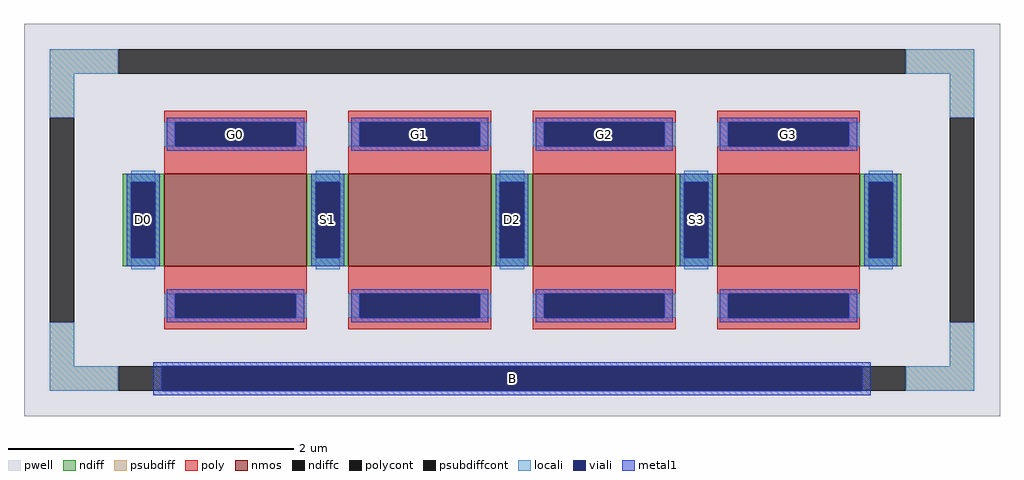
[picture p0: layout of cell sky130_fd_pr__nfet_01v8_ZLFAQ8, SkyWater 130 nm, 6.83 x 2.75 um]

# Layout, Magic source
magic
tech sky130A
magscale 1 2
<< pwell >>
rect -683 -275 683 275
<< nmos >>
rect -487 -65 -287 65
rect -229 -65 -29 65
rect 29 -65 229 65
rect 287 -65 487 65
<< ndiff >>
rect -545 53 -487 65
rect -545 -53 -533 53
rect -499 -53 -487 53
rect -545 -65 -487 -53
rect -287 53 -229 65
rect -287 -53 -275 53
rect -241 -53 -229 53
rect -287 -65 -229 -53
rect -29 53 29 65
rect -29 -53 -17 53
rect 17 -53 29 53
rect -29 -65 29 -53
rect 229 53 287 65
rect 229 -53 241 53
rect 275 -53 287 53
rect 229 -65 287 -53
rect 487 53 545 65
rect 487 -53 499 53
rect 533 -53 545 53
rect 487 -65 545 -53
<< ndiffc >>
rect -533 -53 -499 53
rect -275 -53 -241 53
rect -17 -53 17 53
rect 241 -53 275 53
rect 499 -53 533 53
<< psubdiff >>
rect -647 205 -551 239
rect 551 205 647 239
rect -647 143 -613 205
rect 613 143 647 205
rect -647 -205 -613 -143
rect 613 -205 647 -143
rect -647 -239 -551 -205
rect 551 -239 647 -205
<< psubdiffcont >>
rect -551 205 551 239
rect -647 -143 -613 143
rect 613 -143 647 143
rect -551 -239 551 -205
<< poly >>
rect -487 137 -287 153
rect -487 103 -471 137
rect -303 103 -287 137
rect -487 65 -287 103
rect -229 137 -29 153
rect -229 103 -213 137
rect -45 103 -29 137
rect -229 65 -29 103
rect 29 137 229 153
rect 29 103 45 137
rect 213 103 229 137
rect 29 65 229 103
rect 287 137 487 153
rect 287 103 303 137
rect 471 103 487 137
rect 287 65 487 103
rect -487 -103 -287 -65
rect -487 -137 -471 -103
rect -303 -137 -287 -103
rect -487 -153 -287 -137
rect -229 -103 -29 -65
rect -229 -137 -213 -103
rect -45 -137 -29 -103
rect -229 -153 -29 -137
rect 29 -103 229 -65
rect 29 -137 45 -103
rect 213 -137 229 -103
rect 29 -153 229 -137
rect 287 -103 487 -65
rect 287 -137 303 -103
rect 471 -137 487 -103
rect 287 -153 487 -137
<< polycont >>
rect -471 103 -303 137
rect -213 103 -45 137
rect 45 103 213 137
rect 303 103 471 137
rect -471 -137 -303 -103
rect -213 -137 -45 -103
rect 45 -137 213 -103
rect 303 -137 471 -103
<< locali >>
rect -647 205 -551 239
rect 551 205 647 239
rect -647 143 -613 205
rect 613 143 647 205
rect -487 103 -471 137
rect -303 103 -287 137
rect -229 103 -213 137
rect -45 103 -29 137
rect 29 103 45 137
rect 213 103 229 137
rect 287 103 303 137
rect 471 103 487 137
rect -533 53 -499 69
rect -533 -69 -499 -53
rect -275 53 -241 69
rect -275 -69 -241 -53
rect -17 53 17 69
rect -17 -69 17 -53
rect 241 53 275 69
rect 241 -69 275 -53
rect 499 53 533 69
rect 499 -69 533 -53
rect -487 -137 -471 -103
rect -303 -137 -287 -103
rect -229 -137 -213 -103
rect -45 -137 -29 -103
rect 29 -137 45 -103
rect 213 -137 229 -103
rect 287 -137 303 -103
rect 471 -137 487 -103
rect -647 -205 -613 -143
rect 613 -205 647 -143
rect -647 -239 -551 -205
rect 551 -239 647 -205
<< viali >>
rect -471 103 -303 137
rect -213 103 -45 137
rect 45 103 213 137
rect 303 103 471 137
rect -533 -53 -499 53
rect -275 -53 -241 53
rect -17 -53 17 53
rect 241 -53 275 53
rect 499 -53 533 53
rect -471 -137 -303 -103
rect -213 -137 -45 -103
rect 45 -137 213 -103
rect 303 -137 471 -103
rect -490 -239 490 -205
<< metal1 >>
rect -483 137 -291 143
rect -483 103 -471 137
rect -303 103 -291 137
rect -483 97 -291 103
rect -225 137 -33 143
rect -225 103 -213 137
rect -45 103 -33 137
rect -225 97 -33 103
rect 33 137 225 143
rect 33 103 45 137
rect 213 103 225 137
rect 33 97 225 103
rect 291 137 483 143
rect 291 103 303 137
rect 471 103 483 137
rect 291 97 483 103
rect -539 53 -493 65
rect -539 -53 -533 53
rect -499 -53 -493 53
rect -539 -65 -493 -53
rect -281 53 -235 65
rect -281 -53 -275 53
rect -241 -53 -235 53
rect -281 -65 -235 -53
rect -23 53 23 65
rect -23 -53 -17 53
rect 17 -53 23 53
rect -23 -65 23 -53
rect 235 53 281 65
rect 235 -53 241 53
rect 275 -53 281 53
rect 235 -65 281 -53
rect 493 53 539 65
rect 493 -53 499 53
rect 533 -53 539 53
rect 493 -65 539 -53
rect -483 -103 -291 -97
rect -483 -137 -471 -103
rect -303 -137 -291 -103
rect -483 -143 -291 -137
rect -225 -103 -33 -97
rect -225 -137 -213 -103
rect -45 -137 -33 -103
rect -225 -143 -33 -137
rect 33 -103 225 -97
rect 33 -137 45 -103
rect 213 -137 225 -103
rect 33 -143 225 -137
rect 291 -103 483 -97
rect 291 -137 303 -103
rect 471 -137 483 -103
rect 291 -143 483 -137
rect -502 -205 502 -199
rect -502 -239 -490 -205
rect 490 -239 502 -205
rect -502 -245 502 -239
<< labels >>
rlabel psubdiffcont 0 -222 0 -222 0 B
port 1 nsew
rlabel ndiffc -516 0 -516 0 0 D0
port 2 nsew
rlabel polycont -387 120 -387 120 0 G0
port 3 nsew
rlabel ndiffc -258 0 -258 0 0 S1
port 4 nsew
rlabel polycont -129 120 -129 120 0 G1
port 5 nsew
rlabel ndiffc 0 0 0 0 0 D2
port 6 nsew
rlabel polycont 129 120 129 120 0 G2
port 7 nsew
rlabel ndiffc 258 0 258 0 0 S3
port 8 nsew
rlabel polycont 387 120 387 120 0 G3
port 9 nsew
<< properties >>
string FIXED_BBOX -630 -222 630 222
string gencell sky130_fd_pr__nfet_01v8
string library sky130
string parameters w 0.65 l 1 m 1 nf 4 diffcov 100 polycov 100 guard 1 glc 1 grc 1 gtc 1 gbc 1 tbcov 100 rlcov 100 topc 1 botc 1 poverlap 0 doverlap 1 lmin 0.15 wmin 0.42 class mosfet compatible {sky130_fd_pr__nfet_01v8 sky130_fd_pr__nfet_01v8_lvt  sky130_fd_bs_flash__special_sonosfet_star  sky130_fd_pr__nfet_g5v0d10v5 sky130_fd_pr__nfet_05v0_nvt  sky130_fd_pr__nfet_03v3_nvt} full_metal 1 conn_gates 0 viasrc 100 viadrn 100 viagate 100 viagb 80 viagr 0 viagl 0 viagt 0 doports 1
<< end >>
